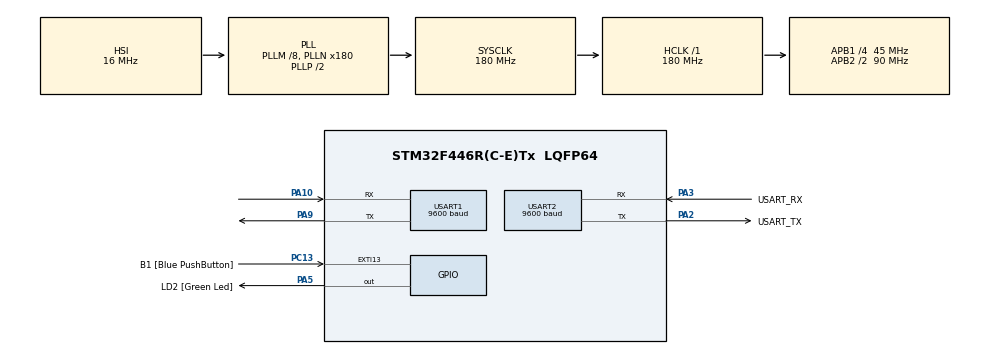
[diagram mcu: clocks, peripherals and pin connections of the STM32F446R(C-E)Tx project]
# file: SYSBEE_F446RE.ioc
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Dma.Request0=USART1_RX
Dma.Request1=USART1_TX
Dma.Request2=USART2_TX
Dma.Request3=USART2_RX
Dma.USART1_RX.0.Direction=DMA_PERIPH_TO_MEMORY
Dma.USART1_RX.0.FIFOMode=DMA_FIFOMODE_DISABLE
Dma.USART1_RX.0.Instance=DMA2_Stream2
Dma.USART1_RX.0.MemDataAlignment=DMA_MDATAALIGN_BYTE
Dma.USART1_RX.0.MemInc=DMA_MINC_ENABLE
Dma.USART1_RX.0.Mode=DMA_NORMAL
Dma.USART1_RX.0.PeriphDataAlignment=DMA_PDATAALIGN_BYTE
Dma.USART1_RX.0.PeriphInc=DMA_PINC_DISABLE
Dma.USART1_RX.0.Priority=DMA_PRIORITY_VERY_HIGH
Dma.USART1_TX.1.Direction=DMA_MEMORY_TO_PERIPH
Dma.USART1_TX.1.FIFOMode=DMA_FIFOMODE_DISABLE
Dma.USART1_TX.1.Instance=DMA2_Stream7
Dma.USART1_TX.1.MemDataAlignment=DMA_MDATAALIGN_BYTE
Dma.USART1_TX.1.MemInc=DMA_MINC_ENABLE
Dma.USART1_TX.1.Mode=DMA_NORMAL
Dma.USART1_TX.1.PeriphDataAlignment=DMA_PDATAALIGN_BYTE
Dma.USART1_TX.1.PeriphInc=DMA_PINC_DISABLE
Dma.USART1_TX.1.Priority=DMA_PRIORITY_VERY_HIGH
Dma.USART2_RX.3.Direction=DMA_PERIPH_TO_MEMORY
Dma.USART2_RX.3.FIFOMode=DMA_FIFOMODE_DISABLE
Dma.USART2_RX.3.Instance=DMA1_Stream5
Dma.USART2_RX.3.MemDataAlignment=DMA_MDATAALIGN_BYTE
Dma.USART2_RX.3.MemInc=DMA_MINC_ENABLE
Dma.USART2_RX.3.Mode=DMA_NORMAL
Dma.USART2_RX.3.PeriphDataAlignment=DMA_PDATAALIGN_BYTE
Dma.USART2_RX.3.PeriphInc=DMA_PINC_DISABLE
Dma.USART2_RX.3.Priority=DMA_PRIORITY_LOW
Dma.USART2_TX.2.Direction=DMA_MEMORY_TO_PERIPH
Dma.USART2_TX.2.FIFOMode=DMA_FIFOMODE_DISABLE
Dma.USART2_TX.2.Instance=DMA1_Stream6
Dma.USART2_TX.2.MemDataAlignment=DMA_MDATAALIGN_BYTE
Dma.USART2_TX.2.MemInc=DMA_MINC_ENABLE
Dma.USART2_TX.2.Mode=DMA_NORMAL
Dma.USART2_TX.2.PeriphDataAlignment=DMA_PDATAALIGN_BYTE
Dma.USART2_TX.2.PeriphInc=DMA_PINC_DISABLE
Dma.USART2_TX.2.Priority=DMA_PRIORITY_LOW
Mcu.Family=STM32F4
Mcu.Name=STM32F446R(C-E)Tx
Mcu.Package=LQFP64
NVIC.DMA1_Stream5_IRQn=true\:0\:0\:false\:false\:true\:false\:true\:true
NVIC.DMA1_Stream6_IRQn=true\:0\:0\:false\:false\:true\:false\:true\:true
NVIC.DMA2_Stream2_IRQn=true\:0\:0\:false\:false\:true\:false\:true\:true
NVIC.DMA2_Stream7_IRQn=true\:0\:0\:false\:false\:true\:false\:true\:true
NVIC.PriorityGroup=NVIC_PRIORITYGROUP_0
NVIC.RCC_IRQn=true\:0\:0\:false\:false\:false\:true\:false\:true
NVIC.USART1_IRQn=true\:0\:0\:false\:false\:true\:true\:true\:true
NVIC.USART2_IRQn=true\:0\:0\:false\:false\:true\:true\:true\:true
PA10.Mode=Asynchronous
PA10.Signal=USART1_RX
PA13.GPIO_Label=TMS
PA13.Mode=Serial_Wire
PA13.Signal=SYS_JTMS-SWDIO
PA14.GPIO_Label=TCK
PA14.Mode=Serial_Wire
PA14.Signal=SYS_JTCK-SWCLK
PA2.GPIO_Label=USART_TX
PA2.Mode=Asynchronous
PA2.Signal=USART2_TX
PA3.GPIO_Label=USART_RX
PA3.Mode=Asynchronous
PA3.Signal=USART2_RX
PA5.GPIO_Label=LD2 [Green Led]
PA5.Signal=GPIO_Output
PA9.Mode=Asynchronous
PA9.Signal=USART1_TX
PB3.GPIO_Label=SWO
PB3.Signal=SYS_JTDO-SWO
PC13.GPIO_Label=B1 [Blue PushButton]
PC13.GPIO_ModeDefaultEXTI=GPIO_MODE_IT_FALLING
PC13.Signal=GPXTI13
PC14-OSC32_IN.Mode=LSE-External-Oscillator
PC14-OSC32_IN.Signal=RCC_OSC32_IN
PC15-OSC32_OUT.Mode=LSE-External-Oscillator
PC15-OSC32_OUT.Signal=RCC_OSC32_OUT
PH0-OSC_IN.Mode=HSE-External-Oscillator
PH0-OSC_IN.Signal=RCC_OSC_IN
PH1-OSC_OUT.Mode=HSE-External-Oscillator
PH1-OSC_OUT.Signal=RCC_OSC_OUT
ProjectManager.HeapSize=0x200
ProjectManager.StackSize=0x400
ProjectManager.TargetToolchain=STM32CubeIDE
RCC.48MHZClocksFreq_Value=84000000
RCC.AHBFreq_Value=180000000
RCC.APB1CLKDivider=RCC_HCLK_DIV4
RCC.APB1Freq_Value=45000000
RCC.APB1TimFreq_Value=90000000
RCC.APB2CLKDivider=RCC_HCLK_DIV2
RCC.APB2Freq_Value=90000000
RCC.APB2TimFreq_Value=180000000
RCC.CortexFreq_Value=180000000
RCC.FLatency-AdvancedSettings=FLASH_LATENCY_5
RCC.HCLKFreq_Value=180000000
RCC.HSE_VALUE=8000000
RCC.HSI_VALUE=16000000
RCC.PLLM=8
RCC.PLLN=180
RCC.SYSCLKFreq_VALUE=180000000
RCC.SYSCLKSource=RCC_SYSCLKSOURCE_PLLCLK
RCC.USBFreq_Value=180000000
RCC.VCOOutputFreq_Value=360000000
USART1.BaudRate=9600
USART1.VirtualMode=VM_ASYNC
USART2.BaudRate=9600
USART2.VirtualMode=VM_ASYNC
board=NUCLEO-F446RE

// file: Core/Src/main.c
/* USER CODE BEGIN Header */
/**
  ******************************************************************************
  * @file           : main.c
  * @brief          : Main program body
  ******************************************************************************
  * @attention
  *
  * Copyright (c) 2022 STMicroelectronics.
  * All rights reserved.
  *
  * This software is licensed under terms that can be found in the LICENSE file
  * in the root directory of this software component.
  * If no LICENSE file comes with this software, it is provided AS-IS.
  *
  ******************************************************************************
  */

/* USER CODE END Header */
#include "main.h"

/* USER CODE BEGIN Includes */
//#include "xbee_core.h"
/* USER CODE END Includes */

/* USER CODE BEGIN PTD */
typedef enum
{
  XBEE_CMD_MODE_OK       = 0x00U,
  XBEE_CMD_MODE_ERROR    = 0x01U,
  XBEE_SEND_FRAME_OK     = 0x00U,
  XBEE_SEND_FRAME_ERROR  = 0x01U,
  XBEE_CMD_RECEIVED_OK   = 0x00U,
  XBEE_CMD_RECEIVED_NOK  = 0x01U,
  XBEE_CMD_TIMEOUT_SEC 	 = 200
} XBEE_StatusTypeDef;

/* USER CODE END PTD */

 UART_HandleTypeDef huart1;
UART_HandleTypeDef huart2;
DMA_HandleTypeDef hdma_usart1_rx;
DMA_HandleTypeDef hdma_usart1_tx;
DMA_HandleTypeDef hdma_usart2_tx;
DMA_HandleTypeDef hdma_usart2_rx;

/* USER CODE BEGIN PV */
UART_HandleTypeDef huart1;
UART_HandleTypeDef huart2;
DMA_HandleTypeDef hdma_usart1_rx;
DMA_HandleTypeDef hdma_usart1_tx;
int16_t traqueur;
uint8_t xbee_usart1_rx_flag = HAL_ERROR;
uint8_t xbee_usart1_tx_flag = HAL_ERROR;
uint8_t xbee_usart1_rx_size = 0;
uint8_t message[40] ; //AVIRER
int8_t commande[10];
//XBEE_StatusTypeDef xbeeStatus; //Marche po
/* USER CODE END PV */

void SystemClock_Config(void);
static void MX_GPIO_Init(void);
static void MX_USART2_UART_Init(void);
static void MX_DMA_Init(void);
static void MX_USART1_UART_Init(void);

int main(void)
{

  /* MCU Configuration--------------------------------------------------------*/

  /* Reset of all peripherals, Initializes the Flash interface and the Systick. */
  HAL_Init();

  /* Configure the system clock */
  SystemClock_Config();

  /* Initialize all configured peripherals */
  MX_GPIO_Init();
  MX_USART2_UART_Init();
  MX_DMA_Init();
  MX_USART1_UART_Init();
  /* USER CODE BEGIN 2 */

  //IL FAUT ABSOLUMENT INITIALISER LE DMA EN PREMIER AVANT LES USART sinon ca DECONNE. La section précédente est
  //initialisée par cubeIDE automatiquement, (et il fait de la merde)
  MX_DMA_Init();
  MX_USART1_UART_Init();
  MX_USART2_UART_Init();

  /* USER CODE END 2 */

  /* Infinite loop */
  /* USER CODE BEGIN WHILE */
  //HAL_UART_Transmit(&huart1, "bla", 3, HAL_MAX_DELAY); //OK
  //OK
  /*if (HAL_OK != HAL_UART_Transmit_DMA(&huart1, "\xF0\xF0\xF0\xF0", 4))     	// Fire Transmission DMA
  	{
  		Error_Handler();
  	}*/
  //*message = "Xbee - Test DMA RX TX...\r\n ";
  uint8_t aTextInfoStart[] = "\r\nXbEE - config...\r\n";

  HAL_UART_Transmit(&huart2, aTextInfoStart, strlen(aTextInfoStart),HAL_MAX_DELAY);
  //xbeeStatus = XbeeConfig(); //Ca serait bien de faire ça pour faire propre mais bon.

/*
  if (XBEE_CMD_MODE_OK != XbeeConfig())
  {
	  Error_Handler();
  }*/
 // XbeeSendFrame();
  xbee_send_string("bla");
//  XbeeConfig();
//  HAL_Delay(3000);
//  lirexbee();

  while (1)
  {
    /* USER CODE END WHILE */

  }
}

void SystemClock_Config(void)
{
  RCC_OscInitTypeDef RCC_OscInitStruct = {0};
  RCC_ClkInitTypeDef RCC_ClkInitStruct = {0};

  /** Configure the main internal regulator output voltage
  */
  __HAL_RCC_PWR_CLK_ENABLE();
  __HAL_PWR_VOLTAGESCALING_CONFIG(PWR_REGULATOR_VOLTAGE_SCALE1);

  /** Initializes the RCC Oscillators according to the specified parameters
  * in the RCC_OscInitTypeDef structure.
  */
  RCC_OscInitStruct.OscillatorType = RCC_OSCILLATORTYPE_HSI;
  RCC_OscInitStruct.HSIState = RCC_HSI_ON;
  RCC_OscInitStruct.HSICalibrationValue = RCC_HSICALIBRATION_DEFAULT;
  RCC_OscInitStruct.PLL.PLLState = RCC_PLL_ON;
  RCC_OscInitStruct.PLL.PLLSource = RCC_PLLSOURCE_HSI;
  RCC_OscInitStruct.PLL.PLLM = 8;
  RCC_OscInitStruct.PLL.PLLN = 180;
  RCC_OscInitStruct.PLL.PLLP = RCC_PLLP_DIV2;
  RCC_OscInitStruct.PLL.PLLQ = 2;
  RCC_OscInitStruct.PLL.PLLR = 2;
  if (HAL_RCC_OscConfig(&RCC_OscInitStruct) != HAL_OK)
  {
    Error_Handler();
  }

  /** Activate the Over-Drive mode
  */
  if (HAL_PWREx_EnableOverDrive() != HAL_OK)
  {
    Error_Handler();
  }

  /** Initializes the CPU, AHB and APB buses clocks
  */
  RCC_ClkInitStruct.ClockType = RCC_CLOCKTYPE_HCLK|RCC_CLOCKTYPE_SYSCLK
                              |RCC_CLOCKTYPE_PCLK1|RCC_CLOCKTYPE_PCLK2;
  RCC_ClkInitStruct.SYSCLKSource = RCC_SYSCLKSOURCE_PLLCLK;
  RCC_ClkInitStruct.AHBCLKDivider = RCC_SYSCLK_DIV1;
  RCC_ClkInitStruct.APB1CLKDivider = RCC_HCLK_DIV4;
  RCC_ClkInitStruct.APB2CLKDivider = RCC_HCLK_DIV2;

  if (HAL_RCC_ClockConfig(&RCC_ClkInitStruct, FLASH_LATENCY_5) != HAL_OK)
  {
    Error_Handler();
  }
}

static void MX_USART1_UART_Init(void)
{

  huart1.Instance = USART1;
  huart1.Init.BaudRate = 9600;
  huart1.Init.WordLength = UART_WORDLENGTH_8B;
  huart1.Init.StopBits = UART_STOPBITS_1;
  huart1.Init.Parity = UART_PARITY_NONE;
  huart1.Init.Mode = UART_MODE_TX_RX;
  huart1.Init.HwFlowCtl = UART_HWCONTROL_NONE;
  huart1.Init.OverSampling = UART_OVERSAMPLING_16;
  if (HAL_UART_Init(&huart1) != HAL_OK)
  {
    Error_Handler();
  }

}

static void MX_USART2_UART_Init(void)
{

  huart2.Instance = USART2;
  huart2.Init.BaudRate = 9600;
  huart2.Init.WordLength = UART_WORDLENGTH_8B;
  huart2.Init.StopBits = UART_STOPBITS_1;
  huart2.Init.Parity = UART_PARITY_NONE;
  huart2.Init.Mode = UART_MODE_TX_RX;
  huart2.Init.HwFlowCtl = UART_HWCONTROL_NONE;
  huart2.Init.OverSampling = UART_OVERSAMPLING_16;
  if (HAL_UART_Init(&huart2) != HAL_OK)
  {
    Error_Handler();
  }

}

static void MX_DMA_Init(void)
{

  /* DMA controller clock enable */
  __HAL_RCC_DMA2_CLK_ENABLE();
  __HAL_RCC_DMA1_CLK_ENABLE();

  /* DMA interrupt init */
  /* DMA1_Stream5_IRQn interrupt configuration */
  HAL_NVIC_SetPriority(DMA1_Stream5_IRQn, 0, 0);
  HAL_NVIC_EnableIRQ(DMA1_Stream5_IRQn);
  /* DMA1_Stream6_IRQn interrupt configuration */
  HAL_NVIC_SetPriority(DMA1_Stream6_IRQn, 0, 0);
  HAL_NVIC_EnableIRQ(DMA1_Stream6_IRQn);
  /* DMA2_Stream2_IRQn interrupt configuration */
  HAL_NVIC_SetPriority(DMA2_Stream2_IRQn, 0, 0);
  HAL_NVIC_EnableIRQ(DMA2_Stream2_IRQn);
  /* DMA2_Stream7_IRQn interrupt configuration */
  HAL_NVIC_SetPriority(DMA2_Stream7_IRQn, 0, 0);
  HAL_NVIC_EnableIRQ(DMA2_Stream7_IRQn);

}

static void MX_GPIO_Init(void)
{
  GPIO_InitTypeDef GPIO_InitStruct = {0};

  /* GPIO Ports Clock Enable */
  __HAL_RCC_GPIOC_CLK_ENABLE();
  __HAL_RCC_GPIOH_CLK_ENABLE();
  __HAL_RCC_GPIOA_CLK_ENABLE();
  __HAL_RCC_GPIOB_CLK_ENABLE();

  /*Configure GPIO pin Output Level */
  HAL_GPIO_WritePin(LD2_GPIO_Port, LD2_Pin, GPIO_PIN_RESET);

  /*Configure GPIO pin : B1_Pin */
  GPIO_InitStruct.Pin = B1_Pin;
  GPIO_InitStruct.Mode = GPIO_MODE_IT_FALLING;
  GPIO_InitStruct.Pull = GPIO_NOPULL;
  HAL_GPIO_Init(B1_GPIO_Port, &GPIO_InitStruct);

  /*Configure GPIO pin : LD2_Pin */
  GPIO_InitStruct.Pin = LD2_Pin;
  GPIO_InitStruct.Mode = GPIO_MODE_OUTPUT_PP;
  GPIO_InitStruct.Pull = GPIO_NOPULL;
  GPIO_InitStruct.Speed = GPIO_SPEED_FREQ_LOW;
  HAL_GPIO_Init(LD2_GPIO_Port, &GPIO_InitStruct);

}

/* USER CODE BEGIN 4 */

void test_DMA(void)
{
	char rxbuff[10];
	char txbuff[]="+++";
	if (HAL_OK != HAL_UARTEx_ReceiveToIdle_DMA(&huart1, rxbuff, 3))
		  HAL_GPIO_WritePin(LD2_GPIO_Port, LD2_Pin, GPIO_PIN_SET);

	//HAL_UART_Transmit_DMA(&huart1, txbuff, 3);
	HAL_UART_Transmit(&huart1, txbuff, 3,HAL_MAX_DELAY);
}

void lirexbee(void)
{
	int8_t reponse[10];
	int status = 0;

	XbeeSendCmdWaitOk("+++");
	status = HAL_UART_GetState(&huart1);

	strcpy(commande,"ATID\r");
	status = XbeeSendCmdWaitResp(commande, message);
	HAL_UART_Transmit(&huart2, message, strlen(message),HAL_MAX_DELAY);

	strcpy(commande,"ATCH\r");
	status = XbeeSendCmdWaitResp(commande, message);
	HAL_UART_Transmit(&huart2, message, strlen(message),HAL_MAX_DELAY);

	strcpy(commande,"ATNI\r");
	status = XbeeSendCmdWaitResp(commande, message);
	HAL_UART_Transmit(&huart2, message, strlen(message),HAL_MAX_DELAY);

	strcpy(commande,"ATCE\r"); //ok expected 3
	status = XbeeSendCmdWaitResp(commande, message);
	HAL_UART_Transmit(&huart2, message, strlen(message),HAL_MAX_DELAY);

	strcpy(commande,"ATAP\r"); //ok expected 1
	status = XbeeSendCmdWaitResp(commande, message);
	HAL_UART_Transmit(&huart2, message, strlen(message),HAL_MAX_DELAY);

	strcpy(commande,"ATCN\r"); //ok deconnexion
	status = XbeeSendCmdWaitResp(commande, message);
	HAL_UART_Transmit(&huart2, message, strlen(message),HAL_MAX_DELAY);

}

void HAL_UARTEx_RxEventCallback(UART_HandleTypeDef *huart, uint16_t Size)
{
	if (huart->Instance == USART1){
		if(__HAL_UART_GET_FLAG(&huart1, UART_FLAG_IDLE) == SET)
	    {
		     __HAL_UART_CLEAR_IDLEFLAG(&huart1);
		     xbee_usart1_rx_flag = HAL_OK;
		     xbee_usart1_rx_size = Size;
	    }
		//HAL_UART_Transmit(&huart2, "IT-USART1\r", 10,HAL_MAX_DELAY);
		//huart1.RxState = HAL_UART_STATE_READY; //On force un peu la main en considérant que quand il y a eu une réception USART1 avec interruption sur Idle, alors il faut que l'usart soit de nouveau libre.
	}
	//if (huart->Instance == USART2)
		//HAL_UART_Transmit(&huart2, "IT-USART2\r", 10,HAL_MAX_DELAY);

	//on y fera d'autres if (gnagnagna) dans le cas ou on utilise d'autres usart
}
/* USER CODE END 4 */

void Error_Handler(void)
{
  /* USER CODE BEGIN Error_Handler_Debug */
  /* User can add his own implementation to report the HAL error return state */
	  HAL_GPIO_WritePin(LD2_GPIO_Port, LD2_Pin, GPIO_PIN_SET);

  //sprintf(texte,"%d",traqueur);
  //HAL_UART_Transmit(&huart2, texte, strlen(texte),HAL_MAX_DELAY);
  __disable_irq();
  while (1)
  {
  }
  /* USER CODE END Error_Handler_Debug */
}
